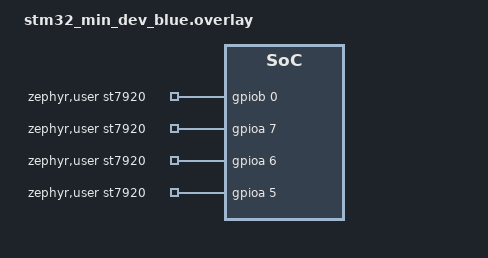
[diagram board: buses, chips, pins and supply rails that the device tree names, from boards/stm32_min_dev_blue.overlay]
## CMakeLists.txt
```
cmake_minimum_required(VERSION 3.22)

set(BOARD stm32_min_dev)

find_package(Zephyr REQUIRED HINTS $ENV{ZEPHYR_BASE})
project(template)

FILE(GLOB app_sources src/*.c)
target_sources(app PRIVATE ${app_sources})

target_include_directories(app PRIVATE inc)
```

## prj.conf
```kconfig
# Comunicação

## UART
CONFIG_SERIAL=y # Receber dados do GPS e enviar pro GPRS
CONFIG_UART_ASYNC_API=n # Receber dados de forma assícrona usando Direct Memory Access (DMA)

## CAN
#TODO

# GPIO
CONFIG_GPIO=y # Ativar o controle dos pinos input e output

# Logging
CONFIG_LOG=y # Log de debug (UART 1)

# 0: nada
# 1: erro
# 2: warning
# 3: info
# 4: debug
CONFIG_LOG_DEFAULT_LEVEL=3 
```

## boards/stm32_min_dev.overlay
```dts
/ {
    // LED da BLuepill
    leds {
        compatible = "gpio-leds";
        led0: led {
            gpios = <&gpioc 13 GPIO_ACTIVE_LOW>;
        };
    };

    // Usado para inicializar aliases de outros devices no código
    aliases {

        // Exemplo
        gps = &usart2;
        sim800l = &usart3;
    };
};

// Exemplo de configuração do USART ASYNC
// WARNING: não utilize o usart1, ele é utilizado pelo LOG
&usart2 {

    // Direct Memory Acess
    // Só é preciso configurá-lo caso você esteja utilizando o UART ASYNC
    // Quando o STM recebe dados pelo usart ele guarda diretamente em uma array
    // definida pelo usuário no código, isso permite que o código não seja
    // travado quando o stm receber dados
    // (https://docs.zephyrproject.org/latest/doxygen/html/group__uart__async.html)

    // Para saber quais canais eu devia usar, eu utilizei o Reference Manual
    // do STM32F103C8T6 (Cada canal de USART usa um diferente)
    dmas = <&dma1 7 (STM32_DMA_PERIPH_TX | STM32_DMA_PRIORITY_HIGH)>,
           <&dma1 6 (STM32_DMA_PERIPH_RX | STM32_DMA_PRIORITY_HIGH)>;
    dma-names = "tx", "rx";

    // Aqui são definidos os pinos do USART 2
    // (https://docs.zephyrproject.org/latest/boards/others/stm32_min_dev/doc/index.html#id2)
    pinctrl-0 = <&usart2_tx_pa2 &usart2_rx_pa3>;    //NOTE:
                                                    // TX: PA2
                                                    // RX: PA3
    // Não mudar
    pinctrl-names = "default";

    // Baudrate do USART2
    current-speed = <9600>;
    status = "okay";
};

// Ativando o Direct Memory Access
&dma1 {
    status = "okay";
};

// TODO: Criar uma configuração de CAN

/* vim: set filetype=dts : */
```

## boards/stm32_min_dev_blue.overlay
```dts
/ {
    zephyr,user {
        st7920_gpios = <&gpiob 0 GPIO_ACTIVE_HIGH>, // Não pode mudar
                <&gpioa 7 GPIO_ACTIVE_HIGH>, // Não pode mudar
                <&gpioa 6 GPIO_ACTIVE_HIGH>, // Não pode mudar
                <&gpioa 5 GPIO_ACTIVE_HIGH>; // Não pode mudar
    };
};

/* vim: set filetype=dts : */
```

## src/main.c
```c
#include "zephyr/kernel.h"
#include <ST7920.h>
#include <bitmap.h>

int main() {

  ST7920_Init();
  k_msleep(1000);

  ST7920_GraphicMode(1);
  ST7920_DrawBitmap(jupiter_logo);

  k_msleep(1000);

  ST7920_Clear();

  ST7920_GraphicMode(0);

  ST7920_SendString(0, 0, "HELLO WORLD");
  ST7920_SendString(1, 0, "FROM");
  ST7920_SendString(2, 0, "CONTROLLERSTECH");
  ST7920_SendString(3, 0, "1234567890!@#$%^");

  k_msleep(2000);

  ST7920_Clear();

  ST7920_GraphicMode(1);

  DrawCircle(110, 31, 12);

  DrawCircle(110, 31, 16);

  DrawLine(3, 60, 127, 33);

  ST7920_Update();

  DrawRectangle(100, 12, 20, 14);

  ST7920_Update();

  DrawFilledRectangle(30, 20, 30, 10);

  ST7920_Update();

  DrawFilledCircle(15, 30, 6);

  ST7920_Update();

  DrawFilledTriangle(1, 5, 10, 5, 6, 15);

  ST7920_Update();

  while (true) {
    k_msleep(10);
  }
}
```

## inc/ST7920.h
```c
#ifndef ST7920_H
#define ST7920_H

#include "stdint.h"

/**
 * @file
 * @brief Biblioteca para utilização do display ST7920 com bitbanging.
 *
 * Esta biblioteca é uma tradução do código da ControllersTech para Zephyr. 
 * (https://controllerstech.com/glcd-128x64-st7920-interfacing-with-stm32/)
 *
 * Essa biblioteca faz um bitbanging de SPI para enviar os dados para o display.
 *
 * @author Giancarlo Bonvenuto
 */

/**
 * Inicializa o Display
 */
int ST7920_Init (void);

/** 
 * @brief Envia uma string para o LCD em uma determinada linha e coluna
 *
 * @param row Define a linha em que será escrito o texto, pode ser de 0 a 3
 * @param col Define a coluna em que será escrito o text, pode ser de 0 a 7
 */
void ST7920_SendString(int row, int col, char* string);


/**
 * @brief É necessário habilitar ou desabilitar o modo gráfico para escrever textos
 * ou desenhar imagens
 *
 * @param enable:
 *  - `0` desativa o modo gráfico e permite que textos possam ser escritos na tela
 *  - `1` ativa o modo gráfico e permite que bitmaps e formas geométricas possam ser desenhadas na tela
 */
void ST7920_GraphicMode (int enable);


/**
 * @brief Limpa a tela em qualquer modo
 */
void ST7920_Clear();


/**
 * @brief Desenha um bitmap na tela
 *
 * @param graphic é uma array de bits. Você pode gerar um bitmap a partir de
 * um png neste website: https://javl.github.io/image2cpp/
 */
void ST7920_DrawBitmap(const unsigned char* graphic);



/**
 * @brief desenha na tela as formas geométricas que foram definidas
 */
void ST7920_Update(void);

/**
 * @brief Define um pixel a ser desenhado
 *
 * @param x coordenada x do pixel
 * @param y coordenada y do pixel
 */
void SetPixel(uint8_t x, uint8_t y);



/**
 * @brief Define uma linha a ser desenhada
 *
 * @param x0 coordenada x inicial da linha
 * @param y0 coordenada y inicial da linha
 * @param x1 coordenada x final da linha
 * @param y1 coordenada y final da linha
 */
void DrawLine(uint8_t x0, uint8_t y0, uint8_t x1, uint8_t y1);


/**
 * @brief Define retângulo a ser desenhado
 *
 * @param x coordenada x do retângulo
 * @param y coordenada y do retângulo
 * @param w a largura (width) do retângulo
 * @param h a altura (height) do retângulo
 */
void DrawRectangle(uint16_t x, uint16_t y, uint16_t w, uint16_t h);



/**
 * @brief Define retângulo preenchido a ser desenhado
 *
 * @param x coordenada x do retângulo
 * @param y coordenada y do retângulo
 * @param w a largura (width) do retângulo
 * @param h a altura (height) do retângulo
 */
void DrawFilledRectangle(uint16_t x, uint16_t y, uint16_t w, uint16_t h);



/**
 * @brief Define um círculo a ser desenhado
 *
 * @param x0 coordenada x do círculo
 * @param y0 coordenada y do círculo
 * @param radius raio do círculo
 */
void DrawCircle(uint8_t x0, uint8_t y0, uint8_t radius);



/**
 * @brief Define um círculo preenchido a ser desenhado
 *
 * @param x0 coordenada x do círculo
 * @param y0 coordenada y do círculo
 * @param r raio do círculo
 */
void DrawFilledCircle(int16_t x0, int16_t y0, int16_t r);



/**
 * @brief Define um triângulo a ser desenhado
 *
 * @param x1 coordenada x do primeiro vértice
 * @param y1 coordenada y do primeiro vértice
 * @param x2 coordenada x do segundo vértice
 * @param y2 coordenada y do segundo vértice
 * @param x3 coordenada x do terceiro vértice
 * @param y3 coordenada y do terceiro vértice
 */
void DrawTriangle(uint16_t x1, uint16_t y1, uint16_t x2, uint16_t y2, uint16_t x3, uint16_t y3);



/**
 * @brief Define um triângulo preenchido a ser desenhado
 *
 * @param x1 coordenada x do primeiro vértice
 * @param y1 coordenada y do primeiro vértice
 * @param x2 coordenada x do segundo vértice
 * @param y2 coordenada y do segundo vértice
 * @param x3 coordenada x do terceiro vértice
 * @param y3 coordenada y do terceiro vértice
 */
void DrawFilledTriangle(uint16_t x1, uint16_t y1, uint16_t x2, uint16_t y2, uint16_t x3, uint16_t y3);

#endif // !ST7920_H
```

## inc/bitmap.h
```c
#ifndef BITMAP_H_
#define BITMAP_H_

volatile const unsigned char jupiter_logo[] = {
    0x00, 0x00, 0x00, 0x00, 0x00, 0x00, 0x00, 0x00, 0x00, 0x00, 0x00, 0x00,
    0x00, 0x00, 0x00, 0x00, 0x00, 0x00, 0x00, 0x00, 0x00, 0x00, 0x00, 0x00,
    0x00, 0x00, 0x00, 0x00, 0x00, 0x00, 0x00, 0x00, 0x00, 0x00, 0x00, 0x00,
    0x00, 0x00, 0x00, 0x0f, 0x80, 0x00, 0x00, 0x00, 0x00, 0x00, 0x00, 0x00,
    0x00, 0x00, 0x00, 0x00, 0x00, 0x00, 0x00, 0x7f, 0xf0, 0x00, 0x00, 0x00,
    0x00, 0x00, 0x00, 0x00, 0x00, 0x00, 0x00, 0x00, 0x00, 0x00, 0x01, 0xff,
    0xfc, 0x00, 0x00, 0x00, 0x00, 0x00, 0x00, 0x00, 0x00, 0x00, 0x00, 0x00,
    0x00, 0x00, 0x03, 0xf8, 0xfe, 0x00, 0x00, 0x00, 0x00, 0x00, 0x00, 0x00,
    0x00, 0x00, 0x00, 0x00, 0x00, 0x00, 0x07, 0xe0, 0x3f, 0x00, 0x00, 0x00,
    0x00, 0x00, 0x00, 0x00, 0x00, 0x00, 0x00, 0x00, 0x00, 0x00, 0x0f, 0x80,
    0x0f, 0x80, 0x00, 0x00, 0x00, 0x00, 0x00, 0x00, 0x00, 0x00, 0x00, 0x00,
    0x00, 0x00, 0x0f, 0x3d, 0xe7, 0x80, 0x00, 0x00, 0x00, 0x00, 0x00, 0x00,
    0x00, 0x00, 0x00, 0x00, 0x00, 0x00, 0x1e, 0x7f, 0xf3, 0xc0, 0x00, 0x00,
    0x00, 0x00, 0x00, 0x00, 0x00, 0x00, 0x00, 0x00, 0x00, 0x00, 0x3c, 0xff,
    0xf9, 0xe0, 0x00, 0x00, 0x00, 0x00, 0x00, 0x00, 0x00, 0x00, 0x00, 0x00,
    0x00, 0x00, 0x3d, 0xff, 0xfd, 0xe0, 0x0e, 0x00, 0x00, 0x00, 0x00, 0x00,
    0x00, 0x00, 0x00, 0x00, 0x00, 0x00, 0x39, 0xff, 0xfc, 0xe0, 0x0c, 0xfc,
    0x00, 0x00, 0x00, 0x00, 0x00, 0x00, 0x00, 0x00, 0x00, 0x00, 0x3b, 0xfd,
    0xfe, 0xe0, 0x0c, 0xfe, 0x00, 0x1e, 0x00, 0x7c, 0x00, 0x00, 0x00, 0x00,
    0x00, 0x00, 0x73, 0xf0, 0x7e, 0x70, 0x05, 0xfe, 0x00, 0x3f, 0x00, 0xfc,
    0x00, 0x0c, 0x00, 0xe0, 0x00, 0x00, 0x73, 0xe0, 0x3e, 0x70, 0x03, 0xff,
    0x00, 0x3f, 0x81, 0xfe, 0x30, 0x1c, 0x00, 0xe0, 0x0e, 0x00, 0x73, 0xe0,
    0x3e, 0x70, 0x01, 0xff, 0x00, 0x3f, 0x81, 0xfe, 0x30, 0x1c, 0x00, 0xe0,
    0x0e, 0x00, 0x73, 0xe0, 0x3e, 0x70, 0x00, 0xff, 0x00, 0x3f, 0x81, 0xfe,
    0x00, 0x0c, 0x00, 0x40, 0x04, 0x00, 0x73, 0xe0, 0x3e, 0x70, 0x00, 0x7f,
    0x80, 0x3f, 0x80, 0xfe, 0x00, 0x00, 0x00, 0x00, 0x00, 0x00, 0x73, 0xe0,
    0x3e, 0x70, 0x00, 0xbe, 0x00, 0x3f, 0x00, 0xfc, 0x00, 0x00, 0x00, 0x00,
    0x00, 0x00, 0x3b, 0xf0, 0x7e, 0xe0, 0x00, 0x4c, 0x40, 0x1f, 0x00, 0x78,
    0x00, 0x00, 0x00, 0x00, 0x00, 0x00, 0x3b, 0xff, 0xfe, 0xe0, 0x00, 0x03,
    0xe0, 0x00, 0x00, 0x00, 0x00, 0x00, 0x00, 0x00, 0x00, 0x00, 0x39, 0xff,
    0xfc, 0xe0, 0x00, 0x00, 0xe0, 0x00, 0x00, 0x00, 0x00, 0x00, 0x00, 0x00,
    0x00, 0x00, 0x3d, 0xff, 0xfd, 0xe0, 0x00, 0x00, 0x00, 0x00, 0x00, 0x00,
    0x00, 0x00, 0x00, 0x00, 0x00, 0x00, 0x1c, 0xff, 0xf9, 0xc0, 0x00, 0x00,
    0x00, 0x00, 0x00, 0x00, 0x00, 0x00, 0x00, 0x00, 0x00, 0x00, 0x1e, 0x7f,
    0xf3, 0xc0, 0x00, 0x00, 0x00, 0x00, 0x00, 0x00, 0x00, 0x00, 0x00, 0x00,
    0x00, 0x00, 0x0f, 0x1f, 0xc7, 0x80, 0x00, 0x00, 0x00, 0x00, 0x00, 0x00,
    0x00, 0x00, 0x00, 0x00, 0x00, 0x00, 0x07, 0xc0, 0x1f, 0x00, 0x00, 0x00,
    0x00, 0x00, 0x00, 0x00, 0x00, 0x00, 0x00, 0x00, 0x00, 0x00, 0x03, 0xf0,
    0x7e, 0x00, 0x00, 0x00, 0x00, 0x00, 0x00, 0x00, 0x00, 0x00, 0x00, 0x00,
    0x00, 0x00, 0x01, 0xff, 0xfc, 0x00, 0x00, 0x00, 0x00, 0x00, 0x00, 0x00,
    0x00, 0x00, 0x00, 0x00, 0x00, 0x00, 0x00, 0x7f, 0xf0, 0x00, 0x00, 0x00,
    0x00, 0x00, 0x00, 0x00, 0x00, 0x00, 0x00, 0x00, 0x00, 0x00, 0x00, 0x1f,
    0xc0, 0x00, 0x00, 0x00, 0x00, 0x00, 0x00, 0x00, 0x00, 0x00, 0x00, 0x00,
    0x00, 0x00, 0x00, 0x00, 0x00, 0x00, 0x00, 0x00, 0x00, 0x00, 0x00, 0x00,
    0x00, 0x00, 0x00, 0x00, 0x00, 0x00, 0x00, 0x00, 0x00, 0x00, 0x00, 0x00,
    0x00, 0x00, 0x00, 0x00, 0x00, 0x00, 0x00, 0x00, 0x00, 0x00, 0x00, 0x00,
    0x00, 0x00, 0x00, 0x00, 0x00, 0x00, 0x00, 0x00, 0x00, 0x00, 0x00, 0x00,
    0x00, 0x00, 0x00, 0x00, 0x00, 0x00, 0x00, 0x00, 0x00, 0x00, 0x00, 0x00,
    0x00, 0x00, 0x00, 0x00, 0x00, 0x00, 0x00, 0x00, 0x00, 0x00, 0x00, 0x00,
    0x00, 0x00, 0x00, 0x00, 0x00, 0x00, 0x00, 0x00, 0x00, 0x00, 0x00, 0x00,
    0x00, 0x00, 0x00, 0x00, 0x00, 0x00, 0x00, 0x00, 0x00, 0x00, 0x00, 0x00,
    0x00, 0x00, 0x00, 0x00, 0x00, 0x00, 0x00, 0x00, 0x00, 0x00, 0x00, 0x00,
    0x00, 0x00, 0x00, 0x00, 0x00, 0x00, 0x00, 0x00, 0x00, 0x00, 0x00, 0x00,
    0x00, 0x00, 0x00, 0x00, 0x00, 0x00, 0x00, 0x00, 0x00, 0x00, 0x00, 0x00,
    0x00, 0x00, 0x00, 0x00, 0x00, 0x00, 0x00, 0x00, 0x00, 0x00, 0x00, 0x00,
    0x00, 0x00, 0x00, 0x00, 0x00, 0x00, 0x00, 0x00, 0x00, 0x00, 0x00, 0x00,
    0x00, 0x00, 0x00, 0x00, 0x00, 0x00, 0x00, 0x00, 0x00, 0x00, 0x00, 0x00,
    0x00, 0x00, 0x00, 0x00, 0x00, 0x00, 0x00, 0x00, 0x00, 0x00, 0x00, 0x00,
    0x00, 0x00, 0x00, 0x00, 0x00, 0x00, 0x00, 0x00, 0x00, 0x00, 0x00, 0x00,
    0x00, 0x00, 0x00, 0x00, 0x00, 0x00, 0x00, 0x00, 0x00, 0x00, 0x00, 0x00,
    0x00, 0x00, 0x00, 0x00, 0x00, 0x00, 0x00, 0x00, 0x00, 0x00, 0x00, 0x00,
    0x00, 0x00, 0x00, 0x00, 0x00, 0x00, 0x00, 0x00, 0x00, 0x00, 0x00, 0x00,
    0x00, 0x00, 0x00, 0x00, 0x00, 0x00, 0x00, 0x00, 0x00, 0x00, 0x00, 0x00,
    0x00, 0x00, 0x00, 0x00, 0x00, 0x00, 0x00, 0x00, 0x00, 0x00, 0x00, 0x00,
    0x00, 0x00, 0x10, 0x40, 0x02, 0x1f, 0xff, 0x82, 0x1f, 0xff, 0x8f, 0xff,
    0xcf, 0xff, 0x80, 0x00, 0x00, 0x00, 0x10, 0x40, 0x02, 0x00, 0x00, 0x82,
    0x00, 0x40, 0x00, 0x00, 0x00, 0x00, 0x40, 0x00, 0x00, 0x00, 0x10, 0x40,
    0x02, 0x00, 0x00, 0x42, 0x00, 0x40, 0x00, 0x00, 0x00, 0x00, 0x20, 0x00,
    0x00, 0x00, 0x10, 0x40, 0x02, 0x00, 0x00, 0x42, 0x00, 0x40, 0x00, 0x00,
    0x00, 0x00, 0x20, 0x00, 0x00, 0x00, 0x10, 0x40, 0x02, 0x00, 0x00, 0x42,
    0x00, 0x40, 0x00, 0x00, 0x00, 0x00, 0x20, 0x00, 0x00, 0x00, 0x10, 0x40,
    0x02, 0x00, 0x00, 0x42, 0x00, 0x40, 0x00, 0x00, 0x00, 0x00, 0x20, 0x00,
    0x00, 0x00, 0x10, 0x40, 0x02, 0x00, 0x00, 0x82, 0x00, 0x40, 0x07, 0xfe,
    0x00, 0x00, 0x40, 0x00, 0x00, 0x00, 0x10, 0x40, 0x02, 0x0f, 0xff, 0x02,
    0x00, 0x40, 0x00, 0x00, 0x00, 0xff, 0x80, 0x00, 0x00, 0x00, 0x10, 0x40,
    0x02, 0x08, 0x00, 0x02, 0x00, 0x40, 0x00, 0x00, 0x00, 0x06, 0x00, 0x00,
    0x00, 0x00, 0x20, 0x40, 0x04, 0x08, 0x00, 0x02, 0x00, 0x40, 0x00, 0x00,
    0x00, 0x02, 0x00, 0x00, 0x00, 0x00, 0x20, 0x20, 0x08, 0x08, 0x00, 0x02,
    0x00, 0x40, 0x00, 0x00, 0x00, 0x01, 0x00, 0x00, 0x00, 0x7f, 0xc0, 0x1f,
    0xf0, 0x08, 0x00, 0x02, 0x00, 0x40, 0x0f, 0xff, 0x80, 0x01, 0x00, 0x00,
    0x00, 0x00, 0x00, 0x00, 0x00, 0x00, 0x00, 0x00, 0x00, 0x00, 0x00, 0x00,
    0x00, 0x00, 0x00, 0x00, 0x00, 0x00, 0x00, 0x00, 0x00, 0x00, 0x00, 0x00,
    0x00, 0x00, 0x00, 0x00, 0x00, 0x00, 0x00, 0x00, 0x00, 0x00, 0x00, 0x00,
    0x00, 0x00, 0x00, 0x00, 0x00, 0x00, 0x00, 0x00, 0x00, 0x00, 0x00, 0x00,
    0x00, 0x00, 0x00, 0x00, 0x00, 0x00, 0x00, 0x00, 0x00, 0x00, 0x00, 0x00,
    0x00, 0x00, 0x00, 0x00};
#endif /* BITMAP_H_ */
```

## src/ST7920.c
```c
#include "zephyr/kernel.h"
#include <ST7920.h>
#include <zephyr/drivers/gpio.h>
#include <zephyr/logging/log.h>

LOG_MODULE_REGISTER(st7920);

const struct gpio_dt_spec *rst =
    &(const struct gpio_dt_spec)GPIO_DT_SPEC_GET_BY_IDX(DT_PATH(zephyr_user),
                                                        st7920_gpios, 0);
const struct gpio_dt_spec *sid =
    &(const struct gpio_dt_spec)GPIO_DT_SPEC_GET_BY_IDX(DT_PATH(zephyr_user),
                                                        st7920_gpios, 1);
const struct gpio_dt_spec *cs =
    &(const struct gpio_dt_spec)GPIO_DT_SPEC_GET_BY_IDX(DT_PATH(zephyr_user),
                                                        st7920_gpios, 2);
const struct gpio_dt_spec *sclk =
    &(const struct gpio_dt_spec)GPIO_DT_SPEC_GET_BY_IDX(DT_PATH(zephyr_user),
                                                        st7920_gpios, 3);

uint8_t image[(128 * 64) / 8];

uint8_t startRow, startCol, endRow,
    endCol; // coordinates of the dirty rectangle
uint8_t numRows = 64;
uint8_t numCols = 128;
uint8_t Graphic_Check = 0;

void SendByteSPI(uint8_t byte) {
  for (int i = 0; i < 8; i++) {
    if ((byte << i) & 0x80) {
      gpio_pin_set_dt(sid, 1);
    }

    else
      gpio_pin_set_dt(sid, 0);

    gpio_pin_set_dt(sclk, 0);
    gpio_pin_set_dt(sclk, 1);
  }
}

void ST7920_SendCmd(uint8_t cmd) {
  gpio_pin_set_dt(cs, 1);

  SendByteSPI(0xf8 + (0 << 1));   // send the SYNC + RS(0)
  SendByteSPI(cmd & 0xf0);        // send the higher nibble first
  SendByteSPI((cmd << 4) & 0xf0); // send the lower nibble
  k_sleep(K_USEC(50));

  gpio_pin_set_dt(cs, 0);
}

void ST7920_SendData(uint8_t data) {
  gpio_pin_set_dt(cs, 1);

  SendByteSPI(0xf8 + (1 << 1));    // send the SYNC + RS(1)
  SendByteSPI(data & 0xf0);        // send the higher nibble first
  SendByteSPI((data << 4) & 0xf0); // send the lower nibble
  k_sleep(K_USEC(50));
  gpio_pin_set_dt(cs, 0);
}

void ST7920_SendString(int row, int col, char *string) {
  LOG_INF("Enviando String %s", string);
  switch (row) {
  case 0:
    col |= 0x80;
    break;
  case 1:
    col |= 0x90;
    break;
  case 2:
    col |= 0x88;
    break;
  case 3:
    col |= 0x98;
    break;
  default:
    col |= 0x80;
    break;
  }

  ST7920_SendCmd(col);

  while (*string) {
    ST7920_SendData(*string++);
  }
}

void ST7920_GraphicMode(int enable) // 1-enable, 0-disable
{
  if (enable == 1) {
    LOG_INF("Entrando no GraphicMode");
    ST7920_SendCmd(0x30); // 8 bit mode
    k_msleep(1);
    ST7920_SendCmd(0x34); // switch to Extended instructions
    k_msleep(1);
    ST7920_SendCmd(0x36); // enable graphics
    k_msleep(1);
    Graphic_Check = 1; // update the variable
  }

  else if (enable == 0) {
    LOG_INF("Saindo do GraphicMode");
    ST7920_SendCmd(0x30); // 8 bit mode
    k_msleep(1);
    Graphic_Check = 0; // update the variable
  }
}

void ST7920_DrawBitmap(const unsigned char *graphic) {
  LOG_INF("Desenhando Bitmap");
  uint8_t x, y;
  for (y = 0; y < 64; y++) {
    if (y < 32) {
      for (x = 0; x < 8; x++) // Draws top half of the screen.
      { // In extended instruction mode, vertical and horizontal coordinates
        // must be specified before sending data in.
        ST7920_SendCmd(
            0x80 |
            y); // Vertical coordinate of the screen is specified first. (0-31)
        ST7920_SendCmd(
            0x80 |
            x); // Then horizontal coordinate of the screen is specified. (0-8)
        ST7920_SendData(graphic[2 * x + 16 * y]); // Data to the upper byte is
                                                  // sent to the coordinate.
        ST7920_SendData(
            graphic[2 * x + 1 + 16 * y]); // Data to the lower byte is sent to
                                          // the coordinate.
      }
    } else {
      for (x = 0; x < 8; x++) // Draws bottom half of the screen.
      { // Actions performed as same as the upper half screen.
        ST7920_SendCmd(
            0x80 |
            (y - 32)); // Vertical coordinate must be scaled back to 0-31 as it
                       // is dealing with another half of the screen.
        ST7920_SendCmd(0x88 | x);
        ST7920_SendData(graphic[2 * x + 16 * y]);
        ST7920_SendData(graphic[2 * x + 1 + 16 * y]);
      }
    }
  }
}

void ST7920_Update(void) {
  LOG_INF("Atualizando...");
  ST7920_DrawBitmap(image);
}

void ST7920_Clear() {
  LOG_INF("Clearing...");
  if (Graphic_Check == 1) // if the graphic mode is set
  {
    uint8_t x, y;
    for (y = 0; y < 64; y++) {
      if (y < 32) {
        ST7920_SendCmd(0x80 | y);
        ST7920_SendCmd(0x80);
      } else {
        ST7920_SendCmd(0x80 | (y - 32));
        ST7920_SendCmd(0x88);
      }
      for (x = 0; x < 8; x++) {
        ST7920_SendData(0);
        ST7920_SendData(0);
      }
    }
  }

  else {
    ST7920_SendCmd(0x01); // clear the display using command
    k_msleep(2);          // delay >1.6 ms
  }
}

int ST7920_Init(void) {
  LOG_INF("Inicializando...");

  // Inicializando GPIO
  struct gpio_dt_spec *pinos[] = {rst, sid, cs, sclk};

  int err;

  for (int i = 0; i < 4; i++) {

    err = device_is_ready(pinos[i]->port);
    if (err < 0) {
      LOG_ERR("A porta %s não está pronta (%d)", pinos[i]->port->name, err);
      return err;
    }
  }

  for (int i = 0; i < 4; i++) {
    err = gpio_pin_configure_dt(pinos[i], GPIO_OUTPUT_HIGH);
    if (err < 0) {
      LOG_ERR("Não foi possível configurar o pino {%s %d} como output (%d)",
              pinos[i]->port->name, pinos[i]->pin, err);
      return err;
    }
  }

  // Inicializando painel
  gpio_pin_set_dt(rst, 0);
  k_msleep(10);
  gpio_pin_set_dt(rst, 1);

  k_msleep(50);

  ST7920_SendCmd(0x30); // 8bit mode
  k_sleep(K_USEC(110));

  ST7920_SendCmd(0x30); // 8bit mode
  k_sleep(K_USEC(40));

  ST7920_SendCmd(0x08); // D=0, C=0, B=0
  k_sleep(K_USEC(110));

  ST7920_SendCmd(0x01); // clear screen
  k_sleep(K_USEC(12));

  ST7920_SendCmd(0x06); // cursor increment right no shift
  k_msleep(1);

  ST7920_SendCmd(0x0C); // D=1, C=0, B=0
  k_msleep(1);

  ST7920_SendCmd(0x02); // return to home
  k_msleep(1);
  return 0;
}

void SetPixel(uint8_t x, uint8_t y) {
  if (y < numRows && x < numCols) {
    uint8_t *p = image + ((y * (numCols / 8)) + (x / 8));
    *p |= 0x80u >> (x % 8);

    *image = *p;

    // Change the dirty rectangle to account for a pixel being dirty (we assume
    // it was changed)
    if (startRow > y) {
      startRow = y;
    }
    if (endRow <= y) {
      endRow = y + 1;
    }
    if (startCol > x) {
      startCol = x;
    }
    if (endCol <= x) {
      endCol = x + 1;
    }
  }
}

void DrawLine(uint8_t x0, uint8_t y0, uint8_t x1, uint8_t y1) {
  int dx = (x1 >= x0) ? x1 - x0 : x0 - x1;
  int dy = (y1 >= y0) ? y1 - y0 : y0 - y1;
  int sx = (x0 < x1) ? 1 : -1;
  int sy = (y0 < y1) ? 1 : -1;
  int err = dx - dy;

  for (;;) {
    SetPixel(x0, y0);
    if (x0 == x1 && y0 == y1)
      break;
    int e2 = err + err;
    if (e2 > -dy) {
      err -= dy;
      x0 += sx;
    }
    if (e2 < dx) {
      err += dx;
      y0 += sy;
    }
  }
}

void DrawRectangle(uint16_t x, uint16_t y, uint16_t w, uint16_t h) {
  /* Check input parameters */
  if (x >= numCols || y >= numRows) {
    /* Return error */
    return;
  }

  /* Check width and height */
  if ((x + w) >= numCols) {
    w = numCols - x;
  }
  if ((y + h) >= numRows) {
    h = numRows - y;
  }

  /* Draw 4 lines */
  DrawLine(x, y, x + w, y);         /* Top line */
  DrawLine(x, y + h, x + w, y + h); /* Bottom line */
  DrawLine(x, y, x, y + h);         /* Left line */
  DrawLine(x + w, y, x + w, y + h); /* Right line */
}

void DrawFilledRectangle(uint16_t x, uint16_t y, uint16_t w, uint16_t h) {
  uint8_t i;

  /* Check input parameters */
  if (x >= numCols || y >= numRows) {
    /* Return error */
    return;
  }

  /* Check width and height */
  if ((x + w) >= numCols) {
    w = numCols - x;
  }
  if ((y + h) >= numRows) {
    h = numRows - y;
  }

  /* Draw lines */
  for (i = 0; i <= h; i++) {
    /* Draw lines */
    DrawLine(x, y + i, x + w, y + i);
  }
}

void DrawCircle(uint8_t x0, uint8_t y0, uint8_t radius) {
  int f = 1 - (int)radius;
  int ddF_x = 1;

  int ddF_y = -2 * (int)radius;
  int x = 0;

  SetPixel(x0, y0 + radius);
  SetPixel(x0, y0 - radius);
  SetPixel(x0 + radius, y0);
  SetPixel(x0 - radius, y0);

  int y = radius;
  while (x < y) {
    if (f >= 0) {
      y--;
      ddF_y += 2;
      f += ddF_y;
    }
    x++;
    ddF_x += 2;
    f += ddF_x;
    SetPixel(x0 + x, y0 + y);
    SetPixel(x0 - x, y0 + y);
    SetPixel(x0 + x, y0 - y);
    SetPixel(x0 - x, y0 - y);
    SetPixel(x0 + y, y0 + x);
    SetPixel(x0 - y, y0 + x);
    SetPixel(x0 + y, y0 - x);
    SetPixel(x0 - y, y0 - x);
  }
}

// Draw Filled Circle

void DrawFilledCircle(int16_t x0, int16_t y0, int16_t r) {
  int16_t f = 1 - r;
  int16_t ddF_x = 1;
  int16_t ddF_y = -2 * r;
  int16_t x = 0;
  int16_t y = r;

  SetPixel(x0, y0 + r);
  SetPixel(x0, y0 - r);
  SetPixel(x0 + r, y0);
  SetPixel(x0 - r, y0);
  DrawLine(x0 - r, y0, x0 + r, y0);

  while (x < y) {
    if (f >= 0) {
      y--;
      ddF_y += 2;
      f += ddF_y;
    }
    x++;
    ddF_x += 2;
    f += ddF_x;

    DrawLine(x0 - x, y0 + y, x0 + x, y0 + y);
    DrawLine(x0 + x, y0 - y, x0 - x, y0 - y);

    DrawLine(x0 + y, y0 + x, x0 - y, y0 + x);
    DrawLine(x0 + y, y0 - x, x0 - y, y0 - x);
  }
}

// Draw Traingle with coordimates (x1, y1), (x2, y2), (x3, y3)
void DrawTriangle(uint16_t x1, uint16_t y1, uint16_t x2, uint16_t y2,
                  uint16_t x3, uint16_t y3) {
  /* Draw lines */
  DrawLine(x1, y1, x2, y2);
  DrawLine(x2, y2, x3, y3);
  DrawLine(x3, y3, x1, y1);
}

// Draw Filled Traingle with coordimates (x1, y1), (x2, y2), (x3, y3)
void DrawFilledTriangle(uint16_t x1, uint16_t y1, uint16_t x2, uint16_t y2,
                        uint16_t x3, uint16_t y3) {
  int16_t deltax = 0, deltay = 0, x = 0, y = 0, xinc1 = 0, xinc2 = 0, yinc1 = 0,
          yinc2 = 0, den = 0, num = 0, numadd = 0, numpixels = 0, curpixel = 0;

#define ABS(x) ((x) > 0 ? (x) : -(x))

  deltax = ABS(x2 - x1);
  deltay = ABS(y2 - y1);
  x = x1;
  y = y1;

  if (x2 >= x1) {
    xinc1 = 1;
    xinc2 = 1;
  } else {
    xinc1 = -1;
    xinc2 = -1;
  }

  if (y2 >= y1) {
    yinc1 = 1;
    yinc2 = 1;
  } else {
    yinc1 = -1;
    yinc2 = -1;
  }

  if (deltax >= deltay) {
    xinc1 = 0;
    yinc2 = 0;
    den = deltax;
    num = deltax / 2;
    numadd = deltay;
    numpixels = deltax;
  } else {
    xinc2 = 0;
    yinc1 = 0;
    den = deltay;
    num = deltay / 2;
    numadd = deltax;
    numpixels = deltay;
  }

  for (curpixel = 0; curpixel <= numpixels; curpixel++) {
    DrawLine(x, y, x3, y3);

    num += numadd;
    if (num >= den) {
      num -= den;
      x += xinc1;
      y += yinc1;
    }
    x += xinc2;
    y += yinc2;
  }
}
```
